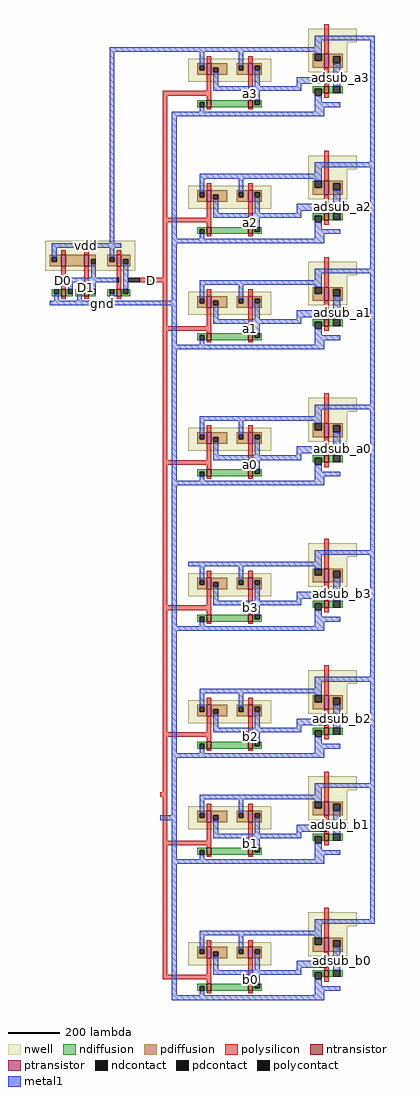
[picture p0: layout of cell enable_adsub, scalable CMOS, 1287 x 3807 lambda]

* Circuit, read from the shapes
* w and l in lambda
.subckt enable_adsub D D0 D1 a0 a1 a2 a3 adsub_a0 adsub_a1 adsub_a2 adsub_a3 adsub_b0 adsub_b1 adsub_b2 adsub_b3 b0 b1 b2 b3 gnd vdd
M1 n1 D0 gnd VSUBS nfet w=27 l=18
M2 n1 D1 gnd VSUBS nfet w=27 l=18
M3 D n1 gnd VSUBS nfet w=27 l=18
M4 n2 D gnd VSUBS nfet w=27 l=18
M5 n3 D gnd VSUBS nfet w=27 l=18
M6 n4 D gnd VSUBS nfet w=27 l=18
M7 n5 D gnd VSUBS nfet w=27 l=18
M8 n6 D gnd VSUBS nfet w=27 l=18
M9 n7 D gnd VSUBS nfet w=27 l=18
M10 n8 D gnd VSUBS nfet w=27 l=18
M11 n9 D gnd VSUBS nfet w=27 l=18
M12 n10 b0 n2 VSUBS nfet w=27 l=18
M13 n11 b1 n3 VSUBS nfet w=27 l=18
M14 n12 b2 n4 VSUBS nfet w=27 l=18
M15 n13 b3 n5 VSUBS nfet w=27 l=18
M16 n14 a0 n6 VSUBS nfet w=27 l=18
M17 n15 a1 n7 VSUBS nfet w=27 l=18
M18 n16 a2 n8 VSUBS nfet w=27 l=18
M19 n17 a3 n9 VSUBS nfet w=27 l=18
M20 adsub_b0 n10 gnd VSUBS nfet w=27 l=18
M21 adsub_b1 n11 gnd VSUBS nfet w=27 l=18
M22 adsub_b2 n12 gnd VSUBS nfet w=27 l=18
M23 adsub_b3 n13 gnd VSUBS nfet w=27 l=18
M24 adsub_a0 n14 gnd VSUBS nfet w=27 l=18
M25 adsub_a1 n15 gnd VSUBS nfet w=27 l=18
M26 adsub_a2 n16 gnd VSUBS nfet w=27 l=18
M27 adsub_a3 n17 gnd VSUBS nfet w=27 l=18
M28 n18 D0 vdd n19 pfet w=45 l=18
M29 n1 D1 n18 n19 pfet w=45 l=18
M30 D n1 vdd n19 pfet w=45 l=18
M31 n10 D vdd n20 pfet w=45 l=18
M32 n11 D vdd n21 pfet w=45 l=18
M33 n12 D vdd n22 pfet w=45 l=18
M34 n13 D vdd n23 pfet w=45 l=18
M35 n14 D vdd n24 pfet w=45 l=18
M36 n15 D vdd n25 pfet w=45 l=18
M37 n16 D vdd n26 pfet w=45 l=18
M38 n17 D vdd n27 pfet w=45 l=18
M39 n10 b0 vdd n20 pfet w=45 l=18
M40 n11 b1 vdd n21 pfet w=45 l=18
M41 n12 b2 vdd n22 pfet w=45 l=18
M42 n13 b3 vdd n23 pfet w=45 l=18
M43 n14 a0 vdd n24 pfet w=45 l=18
M44 n15 a1 vdd n25 pfet w=45 l=18
M45 n16 a2 vdd n26 pfet w=45 l=18
M46 n17 a3 vdd n27 pfet w=45 l=18
M47 adsub_b0 n10 vdd n28 pfet w=54 l=18
M48 adsub_b1 n11 vdd n29 pfet w=54 l=18
M49 adsub_b2 n12 vdd n30 pfet w=54 l=18
M50 adsub_b3 n13 vdd n31 pfet w=54 l=18
M51 adsub_a0 n14 vdd n32 pfet w=54 l=18
M52 adsub_a1 n15 vdd n33 pfet w=54 l=18
M53 adsub_a2 n16 vdd n34 pfet w=54 l=18
M54 adsub_a3 n17 vdd n35 pfet w=54 l=18
.ends

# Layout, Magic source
magic
tech scmos
magscale 9 1
<< nwell >>
rect 220 71 241 77
rect 168 54 204 64
rect 220 59 237 71
rect 220 58 227 59
rect 229 58 237 59
rect 220 16 241 22
rect 168 -1 204 9
rect 220 4 237 16
rect 220 3 227 4
rect 229 3 237 4
rect 106 -28 145 -15
rect 220 -30 241 -24
rect 168 -47 204 -37
rect 220 -42 237 -30
rect 220 -43 227 -42
rect 229 -43 237 -42
rect 220 -89 241 -83
rect 168 -106 204 -96
rect 220 -101 237 -89
rect 220 -102 227 -101
rect 229 -102 237 -101
rect 220 -152 241 -146
rect 168 -169 204 -159
rect 220 -164 237 -152
rect 220 -165 227 -164
rect 229 -165 237 -164
rect 220 -207 241 -201
rect 168 -224 204 -214
rect 220 -219 237 -207
rect 220 -220 227 -219
rect 229 -220 237 -219
rect 220 -253 241 -247
rect 168 -270 204 -260
rect 220 -265 237 -253
rect 220 -266 227 -265
rect 229 -266 237 -265
rect 220 -312 241 -306
rect 168 -329 204 -319
rect 220 -324 237 -312
rect 220 -325 227 -324
rect 229 -325 237 -324
<< ntransistor >>
rect 227 49 229 52
rect 176 43 178 46
rect 194 43 196 46
rect 227 -6 229 -3
rect 176 -12 178 -9
rect 194 -12 196 -9
rect 113 -39 115 -36
rect 123 -39 125 -36
rect 137 -39 139 -36
rect 227 -52 229 -49
rect 176 -58 178 -55
rect 194 -58 196 -55
rect 227 -111 229 -108
rect 176 -117 178 -114
rect 194 -117 196 -114
rect 227 -174 229 -171
rect 176 -180 178 -177
rect 194 -180 196 -177
rect 227 -229 229 -226
rect 176 -235 178 -232
rect 194 -235 196 -232
rect 227 -275 229 -272
rect 176 -281 178 -278
rect 194 -281 196 -278
rect 227 -334 229 -331
rect 176 -340 178 -337
rect 194 -340 196 -337
<< ptransistor >>
rect 176 57 178 62
rect 194 57 196 62
rect 227 60 229 66
rect 176 2 178 7
rect 194 2 196 7
rect 227 5 229 11
rect 113 -26 115 -21
rect 123 -26 125 -21
rect 137 -26 139 -21
rect 176 -44 178 -39
rect 194 -44 196 -39
rect 227 -41 229 -35
rect 176 -103 178 -98
rect 194 -103 196 -98
rect 227 -100 229 -94
rect 176 -166 178 -161
rect 194 -166 196 -161
rect 227 -163 229 -157
rect 176 -221 178 -216
rect 194 -221 196 -216
rect 227 -218 229 -212
rect 176 -267 178 -262
rect 194 -267 196 -262
rect 227 -264 229 -258
rect 176 -326 178 -321
rect 194 -326 196 -321
rect 227 -323 229 -317
<< ndiffusion >>
rect 222 51 227 52
rect 222 49 223 51
rect 226 49 227 51
rect 229 49 231 52
rect 234 49 235 52
rect 172 45 176 46
rect 172 43 173 45
rect 175 43 176 45
rect 178 43 194 46
rect 196 44 197 46
rect 199 44 200 46
rect 196 43 200 44
rect 222 -4 227 -3
rect 222 -6 223 -4
rect 226 -6 227 -4
rect 229 -6 231 -3
rect 234 -6 235 -3
rect 172 -10 176 -9
rect 172 -12 173 -10
rect 175 -12 176 -10
rect 178 -12 194 -9
rect 196 -11 197 -9
rect 199 -11 200 -9
rect 196 -12 200 -11
rect 109 -38 110 -36
rect 112 -38 113 -36
rect 109 -39 113 -38
rect 115 -38 116 -36
rect 115 -39 118 -38
rect 119 -38 120 -36
rect 122 -38 123 -36
rect 119 -39 123 -38
rect 125 -38 126 -36
rect 125 -39 128 -38
rect 133 -38 134 -36
rect 136 -38 137 -36
rect 133 -39 137 -38
rect 139 -38 140 -36
rect 142 -38 143 -36
rect 139 -39 143 -38
rect 222 -50 227 -49
rect 222 -52 223 -50
rect 226 -52 227 -50
rect 229 -52 231 -49
rect 234 -52 235 -49
rect 172 -56 176 -55
rect 172 -58 173 -56
rect 175 -58 176 -56
rect 178 -58 194 -55
rect 196 -57 197 -55
rect 199 -57 200 -55
rect 196 -58 200 -57
rect 222 -109 227 -108
rect 222 -111 223 -109
rect 226 -111 227 -109
rect 229 -111 231 -108
rect 234 -111 235 -108
rect 172 -115 176 -114
rect 172 -117 173 -115
rect 175 -117 176 -115
rect 178 -117 194 -114
rect 196 -116 197 -114
rect 199 -116 200 -114
rect 196 -117 200 -116
rect 222 -172 227 -171
rect 222 -174 223 -172
rect 226 -174 227 -172
rect 229 -174 231 -171
rect 234 -174 235 -171
rect 172 -178 176 -177
rect 172 -180 173 -178
rect 175 -180 176 -178
rect 178 -180 194 -177
rect 196 -179 197 -177
rect 199 -179 200 -177
rect 196 -180 200 -179
rect 222 -227 227 -226
rect 222 -229 223 -227
rect 226 -229 227 -227
rect 229 -229 231 -226
rect 234 -229 235 -226
rect 172 -233 176 -232
rect 172 -235 173 -233
rect 175 -235 176 -233
rect 178 -235 194 -232
rect 196 -234 197 -232
rect 199 -234 200 -232
rect 196 -235 200 -234
rect 222 -273 227 -272
rect 222 -275 223 -273
rect 226 -275 227 -273
rect 229 -275 231 -272
rect 234 -275 235 -272
rect 172 -279 176 -278
rect 172 -281 173 -279
rect 175 -281 176 -279
rect 178 -281 194 -278
rect 196 -280 197 -278
rect 199 -280 200 -278
rect 196 -281 200 -280
rect 222 -332 227 -331
rect 222 -334 223 -332
rect 226 -334 227 -332
rect 229 -334 231 -331
rect 234 -334 235 -331
rect 172 -338 176 -337
rect 172 -340 173 -338
rect 175 -340 176 -338
rect 178 -340 194 -337
rect 196 -339 197 -337
rect 199 -339 200 -337
rect 196 -340 200 -339
<< pdiffusion >>
rect 222 63 223 66
rect 226 63 227 66
rect 172 61 176 62
rect 172 59 173 61
rect 175 59 176 61
rect 172 57 176 59
rect 178 60 185 62
rect 178 58 179 60
rect 181 58 185 60
rect 178 57 185 58
rect 189 61 194 62
rect 189 59 190 61
rect 192 59 194 61
rect 189 57 194 59
rect 196 61 200 62
rect 196 59 197 61
rect 199 59 200 61
rect 222 60 227 63
rect 229 65 235 66
rect 229 62 231 65
rect 234 62 235 65
rect 229 60 235 62
rect 196 57 200 59
rect 222 8 223 11
rect 226 8 227 11
rect 172 6 176 7
rect 172 4 173 6
rect 175 4 176 6
rect 172 2 176 4
rect 178 5 185 7
rect 178 3 179 5
rect 181 3 185 5
rect 178 2 185 3
rect 189 6 194 7
rect 189 4 190 6
rect 192 4 194 6
rect 189 2 194 4
rect 196 6 200 7
rect 196 4 197 6
rect 199 4 200 6
rect 222 5 227 8
rect 229 10 235 11
rect 229 7 231 10
rect 234 7 235 10
rect 229 5 235 7
rect 196 2 200 4
rect 108 -22 113 -21
rect 108 -24 109 -22
rect 111 -24 113 -22
rect 108 -26 113 -24
rect 115 -26 123 -21
rect 125 -23 128 -21
rect 125 -25 126 -23
rect 125 -26 128 -25
rect 133 -22 137 -21
rect 133 -24 134 -22
rect 136 -24 137 -22
rect 133 -26 137 -24
rect 139 -23 143 -21
rect 139 -25 140 -23
rect 142 -25 143 -23
rect 139 -26 143 -25
rect 222 -38 223 -35
rect 226 -38 227 -35
rect 172 -40 176 -39
rect 172 -42 173 -40
rect 175 -42 176 -40
rect 172 -44 176 -42
rect 178 -41 185 -39
rect 178 -43 179 -41
rect 181 -43 185 -41
rect 178 -44 185 -43
rect 189 -40 194 -39
rect 189 -42 190 -40
rect 192 -42 194 -40
rect 189 -44 194 -42
rect 196 -40 200 -39
rect 196 -42 197 -40
rect 199 -42 200 -40
rect 222 -41 227 -38
rect 229 -36 235 -35
rect 229 -39 231 -36
rect 234 -39 235 -36
rect 229 -41 235 -39
rect 196 -44 200 -42
rect 222 -97 223 -94
rect 226 -97 227 -94
rect 172 -99 176 -98
rect 172 -101 173 -99
rect 175 -101 176 -99
rect 172 -103 176 -101
rect 178 -100 185 -98
rect 178 -102 179 -100
rect 181 -102 185 -100
rect 178 -103 185 -102
rect 189 -99 194 -98
rect 189 -101 190 -99
rect 192 -101 194 -99
rect 189 -103 194 -101
rect 196 -99 200 -98
rect 196 -101 197 -99
rect 199 -101 200 -99
rect 222 -100 227 -97
rect 229 -95 235 -94
rect 229 -98 231 -95
rect 234 -98 235 -95
rect 229 -100 235 -98
rect 196 -103 200 -101
rect 222 -160 223 -157
rect 226 -160 227 -157
rect 172 -162 176 -161
rect 172 -164 173 -162
rect 175 -164 176 -162
rect 172 -166 176 -164
rect 178 -163 185 -161
rect 178 -165 179 -163
rect 181 -165 185 -163
rect 178 -166 185 -165
rect 189 -162 194 -161
rect 189 -164 190 -162
rect 192 -164 194 -162
rect 189 -166 194 -164
rect 196 -162 200 -161
rect 196 -164 197 -162
rect 199 -164 200 -162
rect 222 -163 227 -160
rect 229 -158 235 -157
rect 229 -161 231 -158
rect 234 -161 235 -158
rect 229 -163 235 -161
rect 196 -166 200 -164
rect 222 -215 223 -212
rect 226 -215 227 -212
rect 172 -217 176 -216
rect 172 -219 173 -217
rect 175 -219 176 -217
rect 172 -221 176 -219
rect 178 -218 185 -216
rect 178 -220 179 -218
rect 181 -220 185 -218
rect 178 -221 185 -220
rect 189 -217 194 -216
rect 189 -219 190 -217
rect 192 -219 194 -217
rect 189 -221 194 -219
rect 196 -217 200 -216
rect 196 -219 197 -217
rect 199 -219 200 -217
rect 222 -218 227 -215
rect 229 -213 235 -212
rect 229 -216 231 -213
rect 234 -216 235 -213
rect 229 -218 235 -216
rect 196 -221 200 -219
rect 222 -261 223 -258
rect 226 -261 227 -258
rect 172 -263 176 -262
rect 172 -265 173 -263
rect 175 -265 176 -263
rect 172 -267 176 -265
rect 178 -264 185 -262
rect 178 -266 179 -264
rect 181 -266 185 -264
rect 178 -267 185 -266
rect 189 -263 194 -262
rect 189 -265 190 -263
rect 192 -265 194 -263
rect 189 -267 194 -265
rect 196 -263 200 -262
rect 196 -265 197 -263
rect 199 -265 200 -263
rect 222 -264 227 -261
rect 229 -259 235 -258
rect 229 -262 231 -259
rect 234 -262 235 -259
rect 229 -264 235 -262
rect 196 -267 200 -265
rect 222 -320 223 -317
rect 226 -320 227 -317
rect 172 -322 176 -321
rect 172 -324 173 -322
rect 175 -324 176 -322
rect 172 -326 176 -324
rect 178 -323 185 -321
rect 178 -325 179 -323
rect 181 -325 185 -323
rect 178 -326 185 -325
rect 189 -322 194 -321
rect 189 -324 190 -322
rect 192 -324 194 -322
rect 189 -326 194 -324
rect 196 -322 200 -321
rect 196 -324 197 -322
rect 199 -324 200 -322
rect 222 -323 227 -320
rect 229 -318 235 -317
rect 229 -321 231 -318
rect 234 -321 235 -318
rect 229 -323 235 -321
rect 196 -326 200 -324
<< ndcontact >>
rect 223 48 226 51
rect 231 49 234 52
rect 173 43 175 45
rect 197 44 199 46
rect 223 -7 226 -4
rect 231 -6 234 -3
rect 173 -12 175 -10
rect 197 -11 199 -9
rect 110 -38 112 -36
rect 116 -38 118 -36
rect 120 -38 122 -36
rect 126 -38 128 -36
rect 134 -38 136 -36
rect 140 -38 142 -36
rect 223 -53 226 -50
rect 231 -52 234 -49
rect 173 -58 175 -56
rect 197 -57 199 -55
rect 223 -112 226 -109
rect 231 -111 234 -108
rect 173 -117 175 -115
rect 197 -116 199 -114
rect 223 -175 226 -172
rect 231 -174 234 -171
rect 173 -180 175 -178
rect 197 -179 199 -177
rect 223 -230 226 -227
rect 231 -229 234 -226
rect 173 -235 175 -233
rect 197 -234 199 -232
rect 223 -276 226 -273
rect 231 -275 234 -272
rect 173 -281 175 -279
rect 197 -280 199 -278
rect 223 -335 226 -332
rect 231 -334 234 -331
rect 173 -340 175 -338
rect 197 -339 199 -337
<< pdcontact >>
rect 223 63 226 66
rect 173 59 175 61
rect 179 58 181 60
rect 190 59 192 61
rect 197 59 199 61
rect 231 62 234 65
rect 223 8 226 11
rect 173 4 175 6
rect 179 3 181 5
rect 190 4 192 6
rect 197 4 199 6
rect 231 7 234 10
rect 109 -24 111 -22
rect 126 -25 128 -23
rect 134 -24 136 -22
rect 140 -25 142 -23
rect 223 -38 226 -35
rect 173 -42 175 -40
rect 179 -43 181 -41
rect 190 -42 192 -40
rect 197 -42 199 -40
rect 231 -39 234 -36
rect 223 -97 226 -94
rect 173 -101 175 -99
rect 179 -102 181 -100
rect 190 -101 192 -99
rect 197 -101 199 -99
rect 231 -98 234 -95
rect 223 -160 226 -157
rect 173 -164 175 -162
rect 179 -165 181 -163
rect 190 -164 192 -162
rect 197 -164 199 -162
rect 231 -161 234 -158
rect 223 -215 226 -212
rect 173 -219 175 -217
rect 179 -220 181 -218
rect 190 -219 192 -217
rect 197 -219 199 -217
rect 231 -216 234 -213
rect 223 -261 226 -258
rect 173 -265 175 -263
rect 179 -266 181 -264
rect 190 -265 192 -263
rect 197 -265 199 -263
rect 231 -262 234 -259
rect 223 -320 226 -317
rect 173 -324 175 -322
rect 179 -325 181 -323
rect 190 -324 192 -322
rect 197 -324 199 -322
rect 231 -321 234 -318
<< polysilicon >>
rect 227 66 229 79
rect 176 62 178 65
rect 194 62 196 65
rect 176 50 178 57
rect 157 48 178 50
rect 157 -5 159 48
rect 176 46 178 48
rect 194 46 196 57
rect 227 56 229 60
rect 228 53 229 56
rect 227 52 229 53
rect 227 47 229 49
rect 176 42 178 43
rect 194 42 196 43
rect 227 11 229 24
rect 176 7 178 10
rect 194 7 196 10
rect 176 -5 178 2
rect 157 -7 178 -5
rect 113 -21 115 -19
rect 123 -21 125 -19
rect 137 -21 139 -19
rect 113 -36 115 -26
rect 123 -36 125 -26
rect 137 -31 139 -26
rect 157 -31 159 -7
rect 176 -9 178 -7
rect 194 -9 196 2
rect 227 1 229 5
rect 228 -2 229 1
rect 227 -3 229 -2
rect 227 -8 229 -6
rect 176 -13 178 -12
rect 194 -13 196 -12
rect 138 -33 139 -31
rect 147 -33 159 -31
rect 137 -36 139 -33
rect 113 -40 115 -39
rect 123 -40 125 -39
rect 137 -40 139 -39
rect 157 -52 159 -33
rect 227 -35 229 -22
rect 176 -39 178 -36
rect 194 -39 196 -36
rect 176 -52 178 -44
rect 157 -54 178 -52
rect 157 -110 159 -54
rect 176 -55 178 -54
rect 194 -55 196 -44
rect 227 -45 229 -41
rect 228 -48 229 -45
rect 227 -49 229 -48
rect 227 -54 229 -52
rect 176 -59 178 -58
rect 194 -59 196 -58
rect 227 -94 229 -81
rect 176 -98 178 -95
rect 194 -98 196 -95
rect 176 -110 178 -103
rect 157 -112 178 -110
rect 157 -173 159 -112
rect 176 -114 178 -112
rect 194 -114 196 -103
rect 227 -104 229 -100
rect 228 -107 229 -104
rect 227 -108 229 -107
rect 227 -113 229 -111
rect 176 -118 178 -117
rect 194 -118 196 -117
rect 227 -157 229 -144
rect 176 -161 178 -158
rect 194 -161 196 -158
rect 176 -173 178 -166
rect 157 -175 178 -173
rect 157 -228 159 -175
rect 176 -177 178 -175
rect 194 -177 196 -166
rect 227 -167 229 -163
rect 228 -170 229 -167
rect 227 -171 229 -170
rect 227 -176 229 -174
rect 176 -181 178 -180
rect 194 -181 196 -180
rect 227 -212 229 -199
rect 176 -216 178 -213
rect 194 -216 196 -213
rect 176 -228 178 -221
rect 157 -230 178 -228
rect 157 -254 159 -230
rect 176 -232 178 -230
rect 194 -232 196 -221
rect 227 -222 229 -218
rect 228 -225 229 -222
rect 227 -226 229 -225
rect 227 -231 229 -229
rect 176 -236 178 -235
rect 194 -236 196 -235
rect 156 -256 159 -254
rect 157 -275 159 -256
rect 227 -258 229 -245
rect 176 -262 178 -259
rect 194 -262 196 -259
rect 176 -275 178 -267
rect 157 -277 178 -275
rect 157 -333 159 -277
rect 176 -278 178 -277
rect 194 -278 196 -267
rect 227 -268 229 -264
rect 228 -271 229 -268
rect 227 -272 229 -271
rect 227 -277 229 -275
rect 176 -282 178 -281
rect 194 -282 196 -281
rect 227 -317 229 -304
rect 176 -321 178 -318
rect 194 -321 196 -318
rect 176 -333 178 -326
rect 157 -335 178 -333
rect 176 -337 178 -335
rect 194 -337 196 -326
rect 227 -327 229 -323
rect 228 -330 229 -327
rect 227 -331 229 -330
rect 227 -336 229 -334
rect 176 -341 178 -340
rect 194 -341 196 -340
<< polycontact >>
rect 225 53 228 56
rect 225 -2 228 1
rect 137 -33 138 -31
rect 142 -33 147 -31
rect 225 -48 228 -45
rect 225 -107 228 -104
rect 225 -170 228 -167
rect 225 -225 228 -222
rect 225 -271 228 -268
rect 225 -330 228 -327
<< metal1 >>
rect 223 72 249 74
rect 223 69 226 72
rect 134 67 226 69
rect 134 -16 136 67
rect 173 61 175 67
rect 190 61 192 67
rect 223 66 226 67
rect 179 52 181 58
rect 197 52 199 59
rect 231 57 234 62
rect 215 53 225 56
rect 231 54 237 57
rect 215 52 217 53
rect 179 50 217 52
rect 231 52 234 54
rect 197 46 199 50
rect 223 45 226 48
rect 173 41 175 43
rect 223 43 234 45
rect 223 41 227 43
rect 161 39 227 41
rect 161 -14 163 39
rect 247 19 249 72
rect 223 17 249 19
rect 223 14 226 17
rect 173 12 226 14
rect 173 6 175 12
rect 190 6 192 12
rect 223 11 226 12
rect 179 -3 181 3
rect 197 -3 199 4
rect 231 2 234 7
rect 215 -2 225 1
rect 231 -1 237 2
rect 215 -3 217 -2
rect 179 -5 217 -3
rect 231 -3 234 -1
rect 197 -9 199 -5
rect 223 -10 226 -7
rect 173 -14 175 -12
rect 223 -12 234 -10
rect 223 -14 227 -12
rect 161 -16 227 -14
rect 109 -18 139 -16
rect 109 -22 111 -18
rect 134 -22 136 -18
rect 126 -31 128 -25
rect 116 -33 137 -31
rect 116 -36 118 -33
rect 126 -36 128 -33
rect 140 -36 142 -25
rect 110 -41 112 -38
rect 120 -41 122 -38
rect 134 -41 136 -38
rect 161 -41 163 -16
rect 247 -27 249 17
rect 223 -29 249 -27
rect 223 -32 226 -29
rect 108 -43 163 -41
rect 173 -34 226 -32
rect 173 -40 175 -34
rect 190 -40 192 -34
rect 223 -35 226 -34
rect 161 -60 163 -43
rect 179 -49 181 -43
rect 197 -49 199 -42
rect 231 -44 234 -39
rect 215 -48 225 -45
rect 231 -47 237 -44
rect 215 -49 217 -48
rect 179 -51 217 -49
rect 231 -49 234 -47
rect 197 -55 199 -51
rect 223 -56 226 -53
rect 173 -60 175 -58
rect 223 -58 234 -56
rect 223 -60 227 -58
rect 161 -62 227 -60
rect 161 -119 163 -62
rect 247 -86 249 -29
rect 223 -88 249 -86
rect 223 -91 226 -88
rect 173 -93 226 -91
rect 173 -99 175 -93
rect 190 -99 192 -93
rect 223 -94 226 -93
rect 179 -108 181 -102
rect 197 -108 199 -101
rect 231 -103 234 -98
rect 215 -107 225 -104
rect 231 -106 237 -103
rect 215 -108 217 -107
rect 179 -110 217 -108
rect 231 -108 234 -106
rect 197 -114 199 -110
rect 223 -115 226 -112
rect 173 -119 175 -117
rect 223 -117 234 -115
rect 223 -119 227 -117
rect 161 -121 227 -119
rect 161 -182 163 -121
rect 247 -149 249 -88
rect 223 -151 249 -149
rect 223 -154 226 -151
rect 168 -156 226 -154
rect 173 -162 175 -156
rect 190 -162 192 -156
rect 223 -157 226 -156
rect 179 -171 181 -165
rect 197 -171 199 -164
rect 231 -166 234 -161
rect 215 -170 225 -167
rect 231 -169 237 -166
rect 215 -171 217 -170
rect 179 -173 217 -171
rect 231 -171 234 -169
rect 197 -177 199 -173
rect 223 -178 226 -175
rect 173 -182 175 -180
rect 223 -180 234 -178
rect 223 -182 227 -180
rect 161 -184 227 -182
rect 161 -237 163 -184
rect 247 -204 249 -151
rect 223 -206 249 -204
rect 223 -209 226 -206
rect 173 -211 226 -209
rect 173 -217 175 -211
rect 190 -217 192 -211
rect 223 -212 226 -211
rect 179 -226 181 -220
rect 197 -226 199 -219
rect 231 -221 234 -216
rect 215 -225 225 -222
rect 231 -224 237 -221
rect 215 -226 217 -225
rect 179 -228 217 -226
rect 231 -226 234 -224
rect 197 -232 199 -228
rect 223 -233 226 -230
rect 173 -237 175 -235
rect 223 -235 234 -233
rect 223 -237 227 -235
rect 161 -239 227 -237
rect 161 -264 163 -239
rect 247 -250 249 -206
rect 223 -252 249 -250
rect 223 -255 226 -252
rect 156 -266 163 -264
rect 173 -257 226 -255
rect 173 -263 175 -257
rect 190 -263 192 -257
rect 223 -258 226 -257
rect 161 -283 163 -266
rect 179 -272 181 -266
rect 197 -272 199 -265
rect 231 -267 234 -262
rect 215 -271 225 -268
rect 231 -270 237 -267
rect 215 -272 217 -271
rect 179 -274 217 -272
rect 231 -272 234 -270
rect 197 -278 199 -274
rect 223 -279 226 -276
rect 173 -283 175 -281
rect 223 -281 234 -279
rect 223 -283 227 -281
rect 161 -285 227 -283
rect 161 -342 163 -285
rect 247 -309 249 -252
rect 223 -311 249 -309
rect 223 -314 226 -311
rect 173 -316 226 -314
rect 173 -322 175 -316
rect 190 -322 192 -316
rect 223 -317 226 -316
rect 179 -331 181 -325
rect 197 -331 199 -324
rect 231 -326 234 -321
rect 215 -330 225 -327
rect 231 -329 237 -326
rect 215 -331 217 -330
rect 179 -333 217 -331
rect 231 -331 234 -329
rect 197 -337 199 -333
rect 223 -338 226 -335
rect 173 -342 175 -340
rect 223 -340 234 -338
rect 223 -342 227 -340
rect 161 -344 227 -342
<< labels >>
rlabel polysilicon 114 -32 114 -32 1 D0
rlabel polysilicon 124 -35 124 -35 1 D1
rlabel polysilicon 152 -32 152 -32 1 D
rlabel metal1 131 -42 131 -42 1 gnd
rlabel metal1 124 -17 124 -17 1 vdd
rlabel polysilicon 195 -53 195 -53 1 a1
rlabel polysilicon 195 -7 195 -7 1 a2
rlabel polysilicon 195 49 195 49 1 a3
rlabel metal1 234 56 234 56 1 adsub_a3
rlabel metal1 235 0 235 0 1 adsub_a2
rlabel metal1 235 -46 235 -46 1 adsub_a1
rlabel metal1 235 -105 235 -105 1 adsub_a0
rlabel polysilicon 195 -112 195 -112 1 a0
rlabel polysilicon 195 -174 195 -174 1 b3
rlabel metal1 235 -168 235 -168 1 adsub_b3
rlabel polysilicon 195 -230 195 -230 1 b2
rlabel metal1 235 -222 235 -222 1 adsub_b2
rlabel polysilicon 195 -276 195 -276 1 b1
rlabel metal1 234 -268 234 -268 1 adsub_b1
rlabel polysilicon 195 -335 195 -335 1 b0
rlabel metal1 235 -327 235 -327 1 adsub_b0
<< end >>
